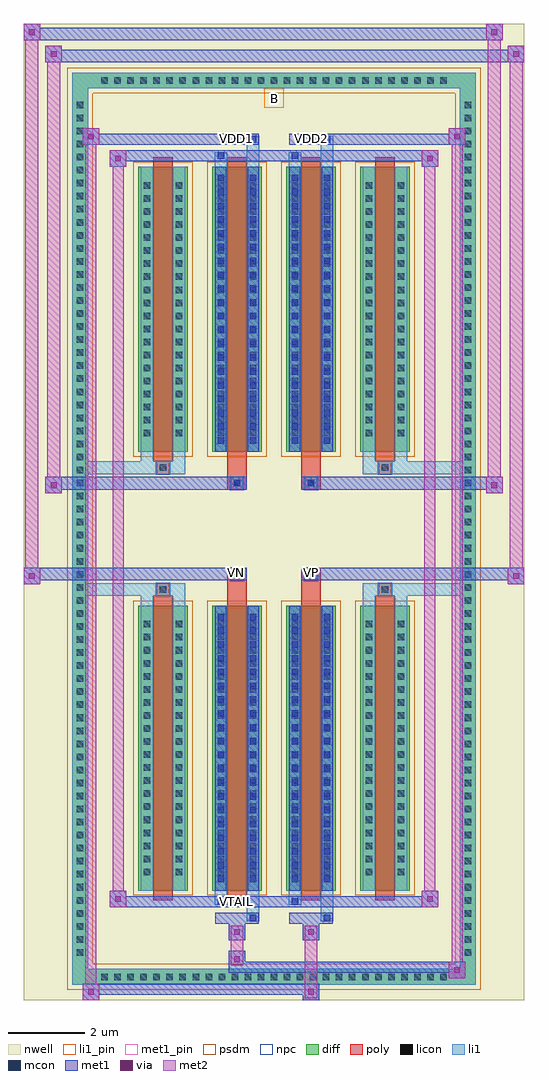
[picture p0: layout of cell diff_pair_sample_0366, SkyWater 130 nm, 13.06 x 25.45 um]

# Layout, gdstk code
import gdstk
lib = gdstk.Library(unit=1e-6, precision=5e-09)
def R(c, l, rs):  # rectangles x0, y0, x1, y1
    for r in rs: c.add(gdstk.rectangle(r[:2], r[2:], *l))
def A(c, l, x, y, w, h, nx, ny, dx, dy):  # array of equal rectangles
    R(c, l, [(x+i*dx, y+j*dy, x+i*dx+w, y+j*dy+h) for i in range(nx) for j in range(ny)])
def P(c, l, *ps):  # polygons
    for p in ps: c.add(gdstk.Polygon(p, *l))
nwell = (64, 20)
diff = (65, 20)
poly = (66, 20)
licon = (66, 44)
li1_pin = (67, 16)
li1 = (67, 20)
mcon = (67, 44)
met1_pin = (68, 16)
met1 = (68, 20)
via = (68, 44)
met2 = (69, 20)
psdm = (94, 20)
npc = (95, 20)

diff_pair_sample_0366 = lib.new_cell('diff_pair_sample_0366')
R(diff_pair_sample_0366, nwell, [(-6.53,-12.29,6.53,13.16), (-3.85,-10.48,-0.01,-0.82), (0.01,-10.48,3.85,-0.82), (-3.85,0.82,-0.01,10.48), (0.01,0.82,3.85,10.48)])
A(diff_pair_sample_0366, diff, -4.625, -11.89, 0.41, 0.41, 27, 2, 0.34, 23.37)
A(diff_pair_sample_0366, diff, -5.26, -11.255, 0.41, 0.41, 1, 66, 0, 0.34)
A(diff_pair_sample_0366, diff, 4.85, -11.255, 0.41, 0.41, 1, 66, 0, 0.34)
A(diff_pair_sample_0366, diff, -3.54, -9.435, 1.29, 7.43, 4, 2, 1.93, 11.44)
R(diff_pair_sample_0366, diff, [(-4.625,-11.89,4.625,-11.48), (-5.26,-11.255,-4.85,11.255), (4.85,-11.255,5.26,11.255), (-4.625,11.48,4.625,11.89)])
P(diff_pair_sample_0366, diff, [(5.26,11.89),(-5.26,11.89),(-5.26,-11.48),(-4.85,-11.48),(-4.85,11.48),(4.85,11.48),(4.85,-11.48),(-4.85,-11.48),(-5.26,-11.48),(-5.26,-11.89),(5.26,-11.89)])
A(diff_pair_sample_0366, poly, -3.15, -9.685, 0.51, 7.93, 4, 2, 1.93, 11.44)
R(diff_pair_sample_0366, poly, [(-3.06,-1.755,-2.73,-1.425), (-3.06,-1.755,-2.73,-1.425), (-1.22,-1.755,-0.71,-1.35), (0.71,-1.755,1.22,-1.35), (2.73,-1.755,3.06,-1.425), (2.73,-1.755,3.06,-1.425), (-1.22,-1.35,-0.71,-1.02), (-1.13,-1.35,-0.8,-1.02), (0.71,-1.35,1.22,-1.02), (0.8,-1.35,1.13,-1.02), (-1.22,1.02,-0.71,1.35), (-1.13,1.02,-0.8,1.35), (0.71,1.02,1.22,1.35), (0.8,1.02,1.13,1.35), (-1.22,1.35,-0.71,1.755), (0.71,1.35,1.22,1.755), (-3.06,1.425,-2.73,1.755), (-3.06,1.425,-2.73,1.755), (2.73,1.425,3.06,1.755), (2.73,1.425,3.06,1.755)])
A(diff_pair_sample_0366, licon, -4.505, -11.77, 0.17, 0.17, 27, 2, 0.34, 23.37)
A(diff_pair_sample_0366, licon, -5.14, -11.135, 0.17, 0.17, 1, 66, 0, 0.34)
A(diff_pair_sample_0366, licon, 4.97, -11.135, 0.17, 0.17, 1, 66, 0, 0.34)
A(diff_pair_sample_0366, licon, -3.4, -9.035, 0.17, 0.17, 1, 20, 0, 0.34)
A(diff_pair_sample_0366, licon, -2.56, -9.035, 0.17, 0.17, 1, 20, 0, 0.34)
A(diff_pair_sample_0366, licon, -1.47, -9.035, 0.17, 0.17, 1, 20, 0, 0.34)
A(diff_pair_sample_0366, licon, -0.63, -9.035, 0.17, 0.17, 1, 20, 0, 0.34)
A(diff_pair_sample_0366, licon, 0.46, -9.035, 0.17, 0.17, 1, 20, 0, 0.34)
A(diff_pair_sample_0366, licon, 1.3, -9.035, 0.17, 0.17, 1, 20, 0, 0.34)
A(diff_pair_sample_0366, licon, 2.39, -9.035, 0.17, 0.17, 1, 20, 0, 0.34)
A(diff_pair_sample_0366, licon, 3.23, -9.035, 0.17, 0.17, 1, 20, 0, 0.34)
A(diff_pair_sample_0366, licon, -3.4, 2.405, 0.17, 0.17, 1, 20, 0, 0.34)
A(diff_pair_sample_0366, licon, -2.56, 2.405, 0.17, 0.17, 1, 20, 0, 0.34)
A(diff_pair_sample_0366, licon, -1.47, 2.405, 0.17, 0.17, 1, 20, 0, 0.34)
A(diff_pair_sample_0366, licon, -0.63, 2.405, 0.17, 0.17, 1, 20, 0, 0.34)
A(diff_pair_sample_0366, licon, 0.46, 2.405, 0.17, 0.17, 1, 20, 0, 0.34)
A(diff_pair_sample_0366, licon, 1.3, 2.405, 0.17, 0.17, 1, 20, 0, 0.34)
A(diff_pair_sample_0366, licon, 2.39, 2.405, 0.17, 0.17, 1, 20, 0, 0.34)
A(diff_pair_sample_0366, licon, 3.23, 2.405, 0.17, 0.17, 1, 20, 0, 0.34)
R(diff_pair_sample_0366, licon, [(-2.98,-1.675,-2.81,-1.505), (2.81,-1.675,2.98,-1.505), (-1.05,-1.27,-0.88,-1.1), (0.88,-1.27,1.05,-1.1), (-1.05,1.1,-0.88,1.27), (0.88,1.1,1.05,1.27), (-2.98,1.505,-2.81,1.675), (2.81,1.505,2.98,1.675)])
R(diff_pair_sample_0366, li1_pin, [(-0.25,10.98,0.25,11.48)])
A(diff_pair_sample_0366, li1, -4.585, -11.85, 0.33, 0.33, 27, 2, 0.34, 23.37)
A(diff_pair_sample_0366, li1, -5.22, -11.215, 0.33, 0.33, 1, 66, 0, 0.34)
A(diff_pair_sample_0366, li1, 4.89, -11.215, 0.33, 0.33, 1, 66, 0, 0.34)
A(diff_pair_sample_0366, li1, -1.47, -9.225, 0.17, 0.17, 1, 20, 0, 0.36)
A(diff_pair_sample_0366, li1, -0.63, -9.225, 0.17, 0.17, 1, 20, 0, 0.36)
A(diff_pair_sample_0366, li1, 0.46, -9.225, 0.17, 0.17, 1, 20, 0, 0.36)
A(diff_pair_sample_0366, li1, 1.3, -9.225, 0.17, 0.17, 1, 20, 0, 0.36)
A(diff_pair_sample_0366, li1, -3.48, -9.115, 0.33, 0.33, 1, 20, 0, 0.34)
A(diff_pair_sample_0366, li1, -2.64, -9.115, 0.33, 0.33, 1, 20, 0, 0.34)
A(diff_pair_sample_0366, li1, -1.55, -9.115, 0.33, 0.33, 1, 20, 0, 0.34)
A(diff_pair_sample_0366, li1, -0.71, -9.115, 0.33, 0.33, 1, 20, 0, 0.34)
A(diff_pair_sample_0366, li1, 0.38, -9.115, 0.33, 0.33, 1, 20, 0, 0.34)
A(diff_pair_sample_0366, li1, 1.22, -9.115, 0.33, 0.33, 1, 20, 0, 0.34)
A(diff_pair_sample_0366, li1, 2.31, -9.115, 0.33, 0.33, 1, 20, 0, 0.34)
A(diff_pair_sample_0366, li1, 3.15, -9.115, 0.33, 0.33, 1, 20, 0, 0.34)
A(diff_pair_sample_0366, li1, -1.47, 2.215, 0.17, 0.17, 1, 20, 0, 0.36)
A(diff_pair_sample_0366, li1, -0.63, 2.215, 0.17, 0.17, 1, 20, 0, 0.36)
A(diff_pair_sample_0366, li1, 0.46, 2.215, 0.17, 0.17, 1, 20, 0, 0.36)
A(diff_pair_sample_0366, li1, 1.3, 2.215, 0.17, 0.17, 1, 20, 0, 0.36)
A(diff_pair_sample_0366, li1, -3.48, 2.325, 0.33, 0.33, 1, 20, 0, 0.34)
A(diff_pair_sample_0366, li1, -2.64, 2.325, 0.33, 0.33, 1, 20, 0, 0.34)
A(diff_pair_sample_0366, li1, -1.55, 2.325, 0.33, 0.33, 1, 20, 0, 0.34)
A(diff_pair_sample_0366, li1, -0.71, 2.325, 0.33, 0.33, 1, 20, 0, 0.34)
A(diff_pair_sample_0366, li1, 0.38, 2.325, 0.33, 0.33, 1, 20, 0, 0.34)
A(diff_pair_sample_0366, li1, 1.22, 2.325, 0.33, 0.33, 1, 20, 0, 0.34)
A(diff_pair_sample_0366, li1, 2.31, 2.325, 0.33, 0.33, 1, 20, 0, 0.34)
A(diff_pair_sample_0366, li1, 3.15, 2.325, 0.33, 0.33, 1, 20, 0, 0.34)
R(diff_pair_sample_0366, li1, [(-5.26,-11.89,-4.85,-11.48), (-5.26,-11.89,-4.85,-11.48), (-4.85,-11.89,4.85,-11.48), (4.85,-11.89,5.26,-11.48), (4.85,-11.89,5.26,-11.48), (-5.26,-11.48,-4.85,11.48), (4.85,-11.48,5.26,11.48), (-0.71,-10.24,-0.38,-9.435), (-0.63,-10.24,-0.46,-10.07), (1.22,-10.24,1.55,-9.435), (1.3,-10.24,1.47,-10.07), (-1.55,-9.81,-1.22,-9.435), (-1.47,-9.81,-1.3,-9.64), (0.38,-9.81,0.71,-9.435), (0.46,-9.81,0.63,-9.64), (-3.48,-9.435,-3.15,-2.005), (-2.64,-9.435,-2.31,-2.005), (-1.55,-9.435,-1.22,-2.005), (-0.71,-9.435,-0.38,-2.005), (0.38,-9.435,0.71,-2.005), (1.22,-9.435,1.55,-2.005), (2.31,-9.435,2.64,-2.005), (3.15,-9.435,3.48,-2.005), (-1.47,-9.225,-1.3,-2.215), (-0.63,-9.225,-0.46,-2.215), (0.46,-9.225,0.63,-2.215), (1.3,-9.225,1.47,-2.215), (-3.48,-2.005,-3.15,-1.425), (-2.64,-2.005,-2.31,-1.425), (2.31,-2.005,2.64,-1.425), (3.15,-2.005,3.48,-1.425), (-5.26,-1.755,-3.06,-1.425), (-3.48,-1.755,-3.06,-1.425), (-3.06,-1.755,-2.73,-1.425), (-2.73,-1.755,-2.31,-1.425), (2.31,-1.755,2.73,-1.425), (2.73,-1.755,3.06,-1.425), (2.73,-1.755,5.26,-1.425), (3.06,-1.755,3.48,-1.425), (-1.13,-1.35,-0.8,-1.02), (0.8,-1.35,1.13,-1.02), (-1.13,1.02,-0.8,1.35), (0.8,1.02,1.13,1.35), (-5.26,1.425,-3.06,1.755), (-3.48,1.425,-3.06,1.755), (-3.48,1.425,-3.15,2.005), (-3.06,1.425,-2.73,1.755), (-2.73,1.425,-2.31,1.755), (-2.64,1.425,-2.31,2.005), (2.31,1.425,2.73,1.755), (2.31,1.425,2.64,2.005), (2.73,1.425,3.06,1.755), (2.73,1.425,5.26,1.755), (3.06,1.425,3.48,1.755), (3.15,1.425,3.48,2.005), (-3.48,2.005,-3.15,9.435), (-2.64,2.005,-2.31,9.435), (-1.55,2.005,-1.22,9.435), (-0.71,2.005,-0.38,9.435), (0.38,2.005,0.71,9.435), (1.22,2.005,1.55,9.435), (2.31,2.005,2.64,9.435), (3.15,2.005,3.48,9.435), (-1.47,2.215,-1.3,9.225), (-0.63,2.215,-0.46,9.225), (0.46,2.215,0.63,9.225), (1.3,2.215,1.47,9.225), (-1.55,9.435,-1.22,9.81), (-0.71,9.435,-0.38,10.24), (0.38,9.435,0.71,9.81), (1.22,9.435,1.55,10.24), (-1.47,9.64,-1.3,9.81), (0.46,9.64,0.63,9.81), (-0.63,10.07,-0.46,10.24), (1.3,10.07,1.47,10.24), (-5.26,11.48,-4.85,11.89), (-5.26,11.48,-4.85,11.89), (-4.85,11.48,4.85,11.89), (4.85,11.48,5.26,11.89), (4.85,11.48,5.26,11.89)])
A(diff_pair_sample_0366, mcon, -1.47, -9.225, 0.17, 0.17, 1, 20, 0, 0.36)
A(diff_pair_sample_0366, mcon, -0.63, -9.225, 0.17, 0.17, 1, 20, 0, 0.36)
A(diff_pair_sample_0366, mcon, 0.46, -9.225, 0.17, 0.17, 1, 20, 0, 0.36)
A(diff_pair_sample_0366, mcon, 1.3, -9.225, 0.17, 0.17, 1, 20, 0, 0.36)
A(diff_pair_sample_0366, mcon, -1.47, 2.215, 0.17, 0.17, 1, 20, 0, 0.36)
A(diff_pair_sample_0366, mcon, -0.63, 2.215, 0.17, 0.17, 1, 20, 0, 0.36)
A(diff_pair_sample_0366, mcon, 0.46, 2.215, 0.17, 0.17, 1, 20, 0, 0.36)
A(diff_pair_sample_0366, mcon, 1.3, 2.215, 0.17, 0.17, 1, 20, 0, 0.36)
R(diff_pair_sample_0366, mcon, [(-0.63,-10.24,-0.46,-10.07), (1.3,-10.24,1.47,-10.07), (-1.47,-9.81,-1.3,-9.64), (0.46,-9.81,0.63,-9.64), (-1.05,-1.27,-0.88,-1.1), (0.88,-1.27,1.05,-1.1), (-1.05,1.1,-0.88,1.27), (0.88,1.1,1.05,1.27), (-1.47,9.64,-1.3,9.81), (0.46,9.64,0.63,9.81), (-0.63,10.07,-0.46,10.24), (1.3,10.07,1.47,10.24)])
R(diff_pair_sample_0366, met1_pin, [(-1.1,-9.85,-0.83,-9.58), (-1.1,-1.29,-0.83,-1.02), (0.83,-1.29,1.1,-1.02), (-1.1,10.03,-0.83,10.3), (0.83,10.03,1.1,10.3)])
A(diff_pair_sample_0366, met1, -1.53, -9.285, 0.29, 0.29, 1, 20, 0, 0.36)
A(diff_pair_sample_0366, met1, -0.69, -9.285, 0.29, 0.29, 1, 20, 0, 0.36)
A(diff_pair_sample_0366, met1, 0.4, -9.285, 0.29, 0.29, 1, 20, 0, 0.36)
A(diff_pair_sample_0366, met1, 1.24, -9.285, 0.29, 0.29, 1, 20, 0, 0.36)
A(diff_pair_sample_0366, met1, -1.53, 2.155, 0.29, 0.29, 1, 20, 0, 0.36)
A(diff_pair_sample_0366, met1, -0.69, 2.155, 0.29, 0.29, 1, 20, 0, 0.36)
A(diff_pair_sample_0366, met1, 0.4, 2.155, 0.29, 0.29, 1, 20, 0, 0.36)
A(diff_pair_sample_0366, met1, 1.24, 2.155, 0.29, 0.29, 1, 20, 0, 0.36)
R(diff_pair_sample_0366, met1, [(-4.99,-12.29,-4.56,-11.86), (0.75,-12.29,1.18,-11.86), (-4.99,-12.15,1.18,-11.86), (4.56,-11.72,4.99,-11.29), (-1.18,-11.58,4.99,-11.29), (-1.18,-11.44,-0.75,-11.01), (-1.18,-10.73,-0.75,-10.3), (0.75,-10.73,1.18,-10.3), (-1.53,-10.3,-0.4,-10.01), (-0.69,-10.3,-0.4,-10.01), (0.4,-10.3,1.53,-10.01), (1.24,-10.3,1.53,-10.01), (-4.28,-9.87,-3.85,-9.44), (-4.28,-9.87,-1.53,-9.58), (-1.53,-9.87,-1.24,-9.58), (-1.53,-9.87,-0.4,-9.58), (-0.4,-9.87,0.4,-9.58), (0.4,-9.87,0.69,-9.58), (0.4,-9.87,1.53,-9.58), (1.53,-9.87,4.28,-9.58), (3.85,-9.87,4.28,-9.44), (-1.53,-9.435,-1.24,-2.005), (-0.69,-9.435,-0.4,-2.005), (0.4,-9.435,0.69,-2.005), (1.24,-9.435,1.53,-2.005), (-6.53,-1.45,-6.1,-1.02), (6.1,-1.45,6.53,-1.02), (-6.53,-1.35,-0.71,-1.02), (-1.22,-1.35,-0.71,-1.02), (0.71,-1.35,1.22,-1.02), (0.71,-1.35,6.53,-1.02), (-1.11,-1.33,-0.82,-1.04), (0.82,-1.33,1.11,-1.04), (-5.96,0.92,-5.53,1.35), (5.53,0.92,5.96,1.35), (-5.96,1.02,-1.22,1.35), (-1.22,1.02,-0.71,1.35), (0.71,1.02,1.22,1.35), (1.22,1.02,5.96,1.35), (-1.11,1.04,-0.82,1.33), (0.82,1.04,1.11,1.33), (-1.53,2.005,-1.24,9.435), (-0.69,2.005,-0.4,9.435), (0.4,2.005,0.69,9.435), (1.24,2.005,1.53,9.435), (-4.28,9.44,-3.85,9.87), (3.85,9.44,4.28,9.87), (-4.28,9.58,-1.53,9.87), (-1.53,9.58,-1.24,9.87), (-1.53,9.58,-0.4,9.87), (-0.4,9.58,0.4,9.87), (0.4,9.58,0.69,9.87), (0.4,9.58,1.53,9.87), (1.53,9.58,4.28,9.87), (-4.99,10.01,-4.56,10.44), (-4.99,10.01,-1.53,10.3), (-1.53,10.01,-0.4,10.3), (-0.69,10.01,-0.4,10.3), (0.4,10.01,1.53,10.3), (1.24,10.01,1.53,10.3), (1.53,10.01,4.99,10.3), (4.56,10.01,4.99,10.44), (-5.96,12.16,-5.53,12.59), (-5.96,12.16,-3.85,12.49), (-3.85,12.16,3.85,12.49), (3.85,12.16,6.53,12.49), (6.1,12.16,6.53,12.59), (-6.53,12.73,-6.1,13.16), (-6.53,12.73,-3.85,13.06), (-3.85,12.73,3.85,13.06), (3.85,12.73,5.96,13.06), (5.53,12.73,5.96,13.16)])
R(diff_pair_sample_0366, via, [(-4.85,-12.15,-4.7,-12), (0.89,-12.15,1.04,-12), (4.7,-11.58,4.85,-11.43), (-1.04,-11.3,-0.89,-11.15), (-1.04,-10.59,-0.89,-10.44), (0.89,-10.59,1.04,-10.44), (-4.14,-9.73,-3.99,-9.58), (3.99,-9.73,4.14,-9.58), (-6.39,-1.31,-6.24,-1.16), (6.24,-1.31,6.39,-1.16), (-5.82,1.06,-5.67,1.21), (5.67,1.06,5.82,1.21), (-4.14,9.58,-3.99,9.73), (3.99,9.58,4.14,9.73), (-4.85,10.15,-4.7,10.3), (4.7,10.15,4.85,10.3), (-5.82,12.3,-5.67,12.45), (6.24,12.3,6.39,12.45), (-6.39,12.87,-6.24,13.02), (5.67,12.87,5.82,13.02)])
R(diff_pair_sample_0366, met2, [(-4.99,-12.29,-4.56,-11.86), (-4.92,-12.29,-4.63,10.44), (-4.63,-12.29,-4.56,-11.86), (-4.94,-12.24,-4.61,-11.91), (0.8,-12.24,1.13,-11.91), (0.8,-11.91,1.13,-10.68), (4.56,-11.72,4.99,-11.29), (4.63,-11.72,4.92,10.44), (4.92,-11.72,4.99,-11.29), (4.61,-11.67,4.94,-11.34), (-1.13,-11.39,-0.8,-11.06), (-1.13,-11.06,-0.8,-10.68), (-1.13,-10.68,-0.8,-10.35), (0.8,-10.68,1.13,-10.35), (-4.28,-9.87,-3.85,-9.44), (-4.21,-9.87,-3.92,9.87), (-3.92,-9.87,-3.85,-9.44), (3.85,-9.87,4.28,-9.44), (3.92,-9.87,4.21,9.87), (4.21,-9.87,4.28,-9.44), (-4.23,-9.82,-3.9,-9.49), (3.9,-9.82,4.23,-9.49), (-6.53,-1.45,-6.1,-1.02), (-6.48,-1.45,-6.15,13.16), (-6.15,-1.45,-6.1,-1.02), (6.1,-1.45,6.53,-1.02), (6.15,-1.45,6.48,12.59), (6.48,-1.45,6.53,-1.02), (-6.48,-1.4,-6.15,-1.07), (6.15,-1.4,6.48,-1.07), (-5.96,0.92,-5.53,1.35), (-5.91,0.92,-5.58,12.59), (-5.58,0.92,-5.53,1.35), (5.53,0.92,5.96,1.35), (5.58,0.92,5.91,13.16), (5.91,0.92,5.96,1.35), (-5.91,0.97,-5.58,1.3), (5.58,0.97,5.91,1.3), (-4.28,9.44,-3.85,9.87), (-3.92,9.44,-3.85,9.87), (3.85,9.44,4.28,9.87), (4.21,9.44,4.28,9.87), (-4.23,9.49,-3.9,9.82), (3.9,9.49,4.23,9.82), (-4.99,10.01,-4.56,10.44), (-4.63,10.01,-4.56,10.44), (4.56,10.01,4.99,10.44), (4.92,10.01,4.99,10.44), (-4.94,10.06,-4.61,10.39), (4.61,10.06,4.94,10.39), (-5.96,12.16,-5.53,12.59), (-5.58,12.16,-5.53,12.59), (6.1,12.16,6.53,12.59), (6.48,12.16,6.53,12.59), (-5.91,12.21,-5.58,12.54), (6.15,12.21,6.48,12.54), (-6.53,12.73,-6.1,13.16), (-6.15,12.73,-6.1,13.16), (5.53,12.73,5.96,13.16), (5.91,12.73,5.96,13.16), (-6.48,12.78,-6.15,13.11), (5.58,12.78,5.91,13.11)])
A(diff_pair_sample_0366, psdm, -3.67, -9.565, 1.55, 7.69, 4, 2, 1.93, 11.44)
P(diff_pair_sample_0366, psdm, [(5.39,12.02),(-5.39,12.02),(-5.39,-11.35),(-4.72,-11.35),(-4.72,11.35),(4.72,11.35),(4.72,-11.35),(-4.72,-11.35),(-5.39,-11.35),(-5.39,-12.02),(5.39,-12.02)])
R(diff_pair_sample_0366, npc, [(-3.08,-1.775,-2.71,-1.405), (2.71,-1.775,3.08,-1.405), (-1.15,-1.37,-0.78,-1), (0.78,-1.37,1.15,-1), (-1.15,1,-0.78,1.37), (0.78,1,1.15,1.37), (-3.08,1.405,-2.71,1.775), (2.71,1.405,3.08,1.775)])
diff_pair_sample_0366.add(gdstk.Label('VTAIL', (-0.965,-9.715), layer=68, texttype=5))
diff_pair_sample_0366.add(gdstk.Label('VN', (-0.965,-1.155), layer=68, texttype=5))
diff_pair_sample_0366.add(gdstk.Label('VP', (0.965,-1.155), layer=68, texttype=5))
diff_pair_sample_0366.add(gdstk.Label('B', (0,11.23), layer=67, texttype=5))
diff_pair_sample_0366.add(gdstk.Label('VDD2', (0.965,10.165), layer=68, texttype=5))
diff_pair_sample_0366.add(gdstk.Label('VDD1', (-0.965,10.165), layer=68, texttype=5))

lib.write_gds('diff_pair_sample_0366.gds')
